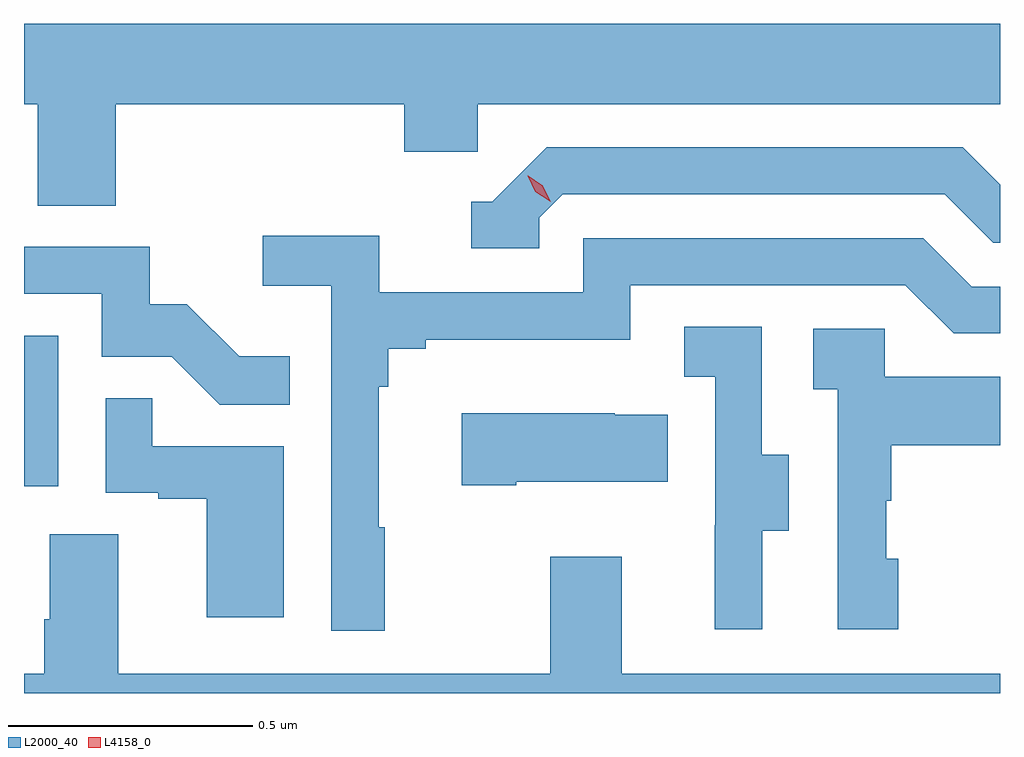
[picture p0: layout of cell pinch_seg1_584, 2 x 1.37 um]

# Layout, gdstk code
import gdstk
lib = gdstk.Library(unit=1e-6, precision=1e-09)
def R(c, l, rs):  # rectangles x0, y0, x1, y1
    for r in rs: c.add(gdstk.rectangle(r[:2], r[2:], *l))
def P(c, l, *ps):  # polygons
    for p in ps: c.add(gdstk.Polygon(p, *l))
L2000_40 = (2000, 40)
L4158_0 = (4158, 0)

pinch_seg1_584 = lib.new_cell('pinch_seg1_584')
R(pinch_seg1_584, L2000_40, [(1065.624,521.645,1065.694,521.953)])
P(pinch_seg1_584, L2000_40, [(1065.812,522.428),(1066.403,522.428),(1066.403,522.33),(1066.554,522.33),(1066.554,522.428),(1067.624,522.428),(1067.624,522.592),(1065.624,522.592),(1065.624,522.428),(1065.652,522.428),(1065.652,522.22),(1065.812,522.22)],
  [(1066.68,522.195),(1066.728,522.243),(1067.511,522.243),(1067.61,522.144),(1067.624,522.144),(1067.624,522.263),(1067.548,522.339),(1066.695,522.339),(1066.584,522.228),(1066.541,522.228),(1066.541,522.132),(1066.68,522.132)],
  [(1066.363,521.561),(1066.351,521.561),(1066.351,521.849),(1066.37,521.849),(1066.37,521.926),(1066.447,521.926),(1066.447,521.945),(1066.866,521.945),(1066.866,522.057),(1067.43,522.057),(1067.529,521.958),(1067.624,521.958),(1067.624,522.054),(1067.566,522.054),(1067.467,522.153),(1066.77,522.153),(1066.77,522.042),(1066.352,522.042),(1066.352,522.158),(1066.113,522.158),(1066.113,522.056),(1066.254,522.056),(1066.254,521.349),(1066.363,521.349)],
  [(1066.169,521.911),(1066.065,521.911),(1065.958,522.018),(1065.882,522.018),(1065.882,522.135),(1065.624,522.135),(1065.624,522.039),(1065.783,522.039),(1065.783,521.91),(1065.927,521.91),(1066.025,521.812),(1066.169,521.812)],
  [(1067.137,521.554),(1067.191,521.554),(1067.191,521.709),(1067.136,521.709),(1067.136,521.972),(1066.977,521.972),(1066.977,521.869),(1067.04,521.869),(1067.04,521.565),(1067.039,521.565),(1067.039,521.352),(1067.137,521.352)],
  [(1067.416,521.496),(1067.391,521.496),(1067.391,521.615),(1067.401,521.615),(1067.401,521.729),(1067.624,521.729),(1067.624,521.869),(1067.388,521.869),(1067.388,521.967),(1067.241,521.967),(1067.241,521.843),(1067.292,521.843),(1067.292,521.352),(1067.416,521.352)],
  [(1066.156,521.727),(1065.887,521.727),(1065.887,521.825),(1065.792,521.825),(1065.792,521.631),(1065.899,521.631),(1065.899,521.619),(1065.998,521.619),(1065.998,521.376),(1066.156,521.376)],
  [(1066.633,521.654),(1066.943,521.654),(1066.943,521.791),(1066.835,521.791),(1066.835,521.794),(1066.521,521.794),(1066.521,521.647),(1066.633,521.647)],
  [(1067.624,521.26),(1066.849,521.26),(1066.849,521.5),(1066.702,521.5),(1066.702,521.26),(1065.817,521.26),(1065.817,521.546),(1065.677,521.546),(1065.677,521.372),(1065.665,521.372),(1065.665,521.26),(1065.624,521.26),(1065.624,521.221),(1067.624,521.221)])
P(pinch_seg1_584, L4158_0, [(1066.703,522.228),(1066.672,522.248),(1066.656,522.281),(1066.656,522.281),(1066.657,522.281),(1066.687,522.261),(1066.703,522.228),(1066.703,522.228)])

lib.write_gds('pinch_seg1_584.gds')
